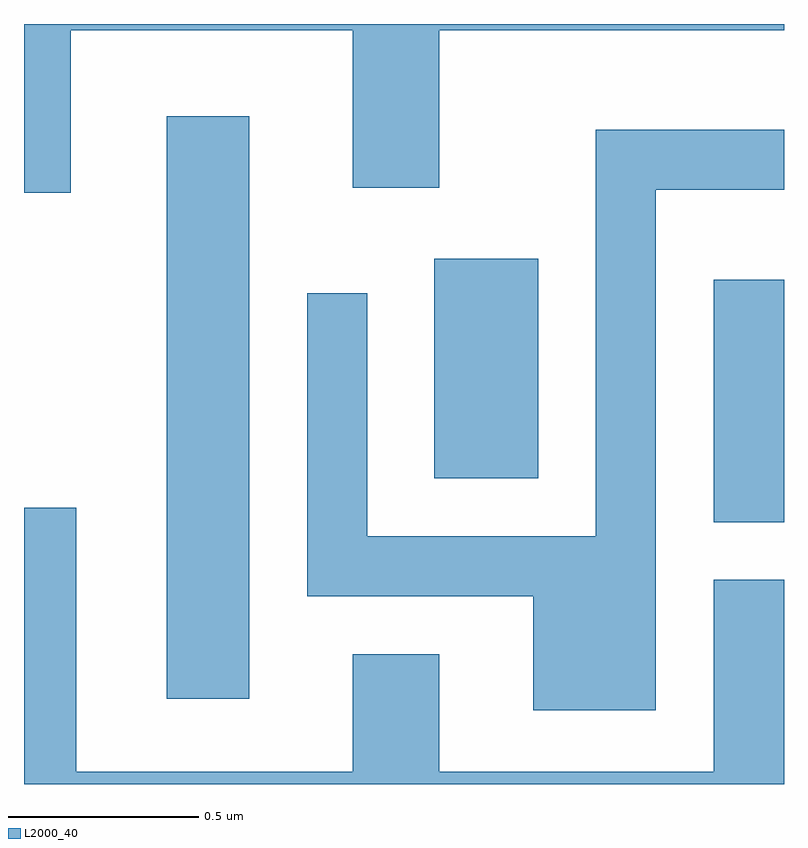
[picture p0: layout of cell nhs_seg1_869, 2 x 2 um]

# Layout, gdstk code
import gdstk
lib = gdstk.Library(unit=1e-6, precision=1e-09)
def R(c, l, rs):  # rectangles x0, y0, x1, y1
    for r in rs: c.add(gdstk.rectangle(r[:2], r[2:], *l))
def P(c, l, *ps):  # polygons
    for p in ps: c.add(gdstk.Polygon(p, *l))
L2000_40 = (2000, 40)

nhs_seg1_869 = lib.new_cell('nhs_seg1_869')
R(nhs_seg1_869, L2000_40, [(191.986,888.936,192.204,890.469), (193.426,889.401,193.611,890.039), (192.691,889.516,192.964,890.094)])
P(nhs_seg1_869, L2000_40, [(191.734,890.696),(192.476,890.696),(192.476,890.281),(192.704,890.281),(192.704,890.696),(193.611,890.696),(193.611,890.712),(191.611,890.712),(191.611,890.268),(191.734,890.268)],
  [(193.274,890.276),(193.611,890.276),(193.611,890.434),(193.116,890.434),(193.116,889.364),(192.514,889.364),(192.514,890.003),(192.356,890.003),(192.356,889.206),(192.951,889.206),(192.951,888.906),(193.274,888.906)],
  [(193.611,889.249),(193.426,889.249),(193.426,888.744),(192.704,888.744),(192.704,889.054),(192.476,889.054),(192.476,888.744),(191.749,888.744),(191.749,889.439),(191.611,889.439),(191.611,888.712),(193.611,888.712)])

lib.write_gds('nhs_seg1_869.gds')
